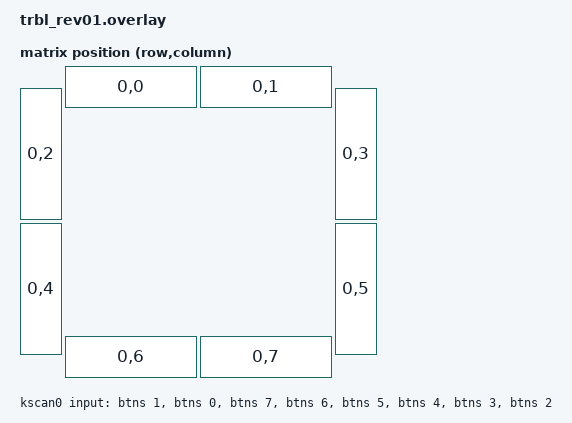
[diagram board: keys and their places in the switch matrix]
#include <dt-bindings/zmk/input_transform.h>
#include <dt-bindings/zmk/matrix_transform.h>
#include <physical_layouts.dtsi>
#include <zephyr/dt-bindings/input/input-event-codes.h>
#include <input/processors.dtsi>
#include <dt-bindings/led/led.h>

// layers
#define DEFAULT 0
#define SCRLM 1
#define SCRLH 2
#define DEVICE 3
#define BLTH 4
#define SNIPE 5

/ {
	chosen {
		zmk,studio-rpc-uart = &uart0;
		zmk,kscan = &kscan0;
		zmk,physical-layout = &physical_layout0;
		zmk,underglow = &led_strip;
		zmk,backlight = &backlight;
	};

	sensors {
		compatible = "zmk,keymap-sensors";
		sensors = <&left_encoder &right_encoder>;
		triggers-per-rotation = <20>;
	};

	kscan0: kscan {
		compatible = "zmk,kscan-gpio-direct";
		wakeup-source;
		input-gpios
		= <&btns 1 (GPIO_ACTIVE_LOW)>
		, <&btns 0 (GPIO_ACTIVE_LOW)>
		, <&btns 7 (GPIO_ACTIVE_LOW)>
		, <&btns 6 (GPIO_ACTIVE_LOW)>
		, <&btns 5 (GPIO_ACTIVE_LOW)>
		, <&btns 4 (GPIO_ACTIVE_LOW)>
		, <&btns 3 (GPIO_ACTIVE_LOW)>
		, <&btns 2 (GPIO_ACTIVE_LOW)>
		;
	};

	default_transform: keymap_transform_0 {
		compatible = "zmk,matrix-transform";
		rows = <4>;
		columns = <4>;
		map = <
					  RC(0, 0) RC(0, 1)
					  RC(0, 2) RC(0, 3)
					  RC(0, 4) RC(0, 5)
					  RC(0, 6) RC(0, 7)
			  >;
	};

	physical_layout0: physical_layout_0 {
		compatible = "zmk,physical-layout";
		display-name = "Default Layout";

		transform = <&default_transform>;
		kscan = <&kscan0>;

		keys  //                     w    h     x     y     rot    rx    ry
		= <&key_physical_attrs 270 90 90 0 0 0 0>
		, <&key_physical_attrs 270 90 360 0 0 0 0>
		, <&key_physical_attrs 90 270 0 45 0 0 0>
		, <&key_physical_attrs 90 270 630 45 0 0 0>
		, <&key_physical_attrs 90 270 0 315 0 0 0>
		, <&key_physical_attrs 90 270 630 315 0 0 0>
		, <&key_physical_attrs 270 90 90 540 0 0 0>
		, <&key_physical_attrs 270 90 360 540 0 0 0>
		;
	};

	position_map {
		compatible = "zmk,physical-layout-position-map";
		complete;

		layout1: layout1 {
			physical-layout = <&physical_layout0>;
			positions
			= <0 1>
			, <2 3>
			, <4 5>
			, <6 7>
			;
		};
	};
};

&left_encoder {
	status = "okay";
};

&right_encoder {
	status = "okay";
};

&spi0 {
	status = "okay";
	compatible = "nordic,nrf-spim";
	pinctrl-0 = <&spi0_default>;
	pinctrl-1 = <&spi0_sleep>;
	pinctrl-names = "default", "sleep";
	cs-gpios = <&gpio0 30 GPIO_ACTIVE_LOW>;

	trackball_primary: trackball@0 {
		status = "okay";
		compatible = "pixart,pmw3610";
		reg = <0>;
		spi-max-frequency = <2000000>;
		irq-gpios = <&gpio0 2 (GPIO_ACTIVE_LOW | GPIO_PULL_UP)>;
		cpi = <800>;
		evt-type = <INPUT_EV_REL>;
		x-input-code = <INPUT_REL_X>;
		y-input-code = <INPUT_REL_Y>;

		force-awake;
	};
};

&spi1 {
	status = "okay";
	compatible = "nordic,nrf-spim";
	pinctrl-0 = <&spi1_default>;
	pinctrl-1 = <&spi1_sleep>;
	pinctrl-names = "default", "sleep";
	cs-gpios = <&gpio1 7 GPIO_ACTIVE_LOW>;

	trackball_secondary: trackball@0 {
		status = "okay";
		compatible = "pixart,pmw3610";
		reg = <0>;
		spi-max-frequency = <2000000>;
		irq-gpios = <&gpio1 4 (GPIO_ACTIVE_LOW | GPIO_PULL_UP)>;
		cpi = <800>;
		evt-type = <INPUT_EV_REL>;
		x-input-code = <INPUT_REL_X>;
		y-input-code = <INPUT_REL_Y>;

		force-awake;
	};
};

&spi3 {
	compatible = "nordic,nrf-spim";
	status = "okay";

	pinctrl-0 = <&spi3_default>;
	pinctrl-1 = <&spi3_sleep>;
	pinctrl-names = "default", "sleep";

	led_strip: ws2812@0 {
		compatible = "worldsemi,ws2812-spi";

		reg = <0>;
		spi-max-frequency = <4000000>;

		/* WS2812 */
		chain-length = <16>; /* number of LEDs */
		spi-one-frame = <0x70>;
		spi-zero-frame = <0x40>;
		color-mapping = <LED_COLOR_ID_GREEN
						 LED_COLOR_ID_RED
						 LED_COLOR_ID_BLUE>;
	};
};

&pwm0 {
	status = "okay";
	pinctrl-0 = <&pwm0_default>;
	pinctrl-1 = <&pwm0_sleep>;
	pinctrl-names = "default", "sleep";
};

/ {
	backlight: pwmleds {
		compatible = "pwm-leds";

		pwm_led_0 {
			pwms = <&pwm0 0 PWM_MSEC(10) PWM_POLARITY_NORMAL>;
		};
	};

	trackball_primary_listener: trackball_primary_listener {
		compatible = "zmk,input-listener";
		device = <&trackball_primary>;
		input-processors = <&zip_xy_swap_mapper>;

		default {
			layers = <DEFAULT>;
			process-next;
		};

		scroll {
			layers = <SCRLM SCRLH>;
			input-processors = <&zip_xy_transform (INPUT_TRANSFORM_X_INVERT)>, <&zip_xy_swap_mapper>,
							   <&zip_xy_scaler 1 10>, <&zip_xy_to_scroll_mapper>;
			process-next;
		};

		snipe {
			layers = <SNIPE>;
			input-processors = <&zip_xy_scaler 1 5>;
			process-next;
		};
	};

	trackball_secondary_listener: trackball_secondary_listener {
		compatible = "zmk,input-listener";
		device = <&trackball_secondary>;
		input-processors = <&zip_xy_swap_mapper>;

		default {
			layers = <DEFAULT>;
			process-next;
		};

		scroll {
			layers = <SCRLM SCRLH>;
			input-processors = <&zip_xy_transform (INPUT_TRANSFORM_X_INVERT)>, <&zip_xy_swap_mapper>,
							   <&zip_xy_scaler 1 10>, <&zip_xy_to_scroll_mapper>;
			process-next;
		};

		snipe {
			layers = <SNIPE>;
			input-processors = <&zip_xy_scaler 1 5>;
			process-next;
		};
	};
}; 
